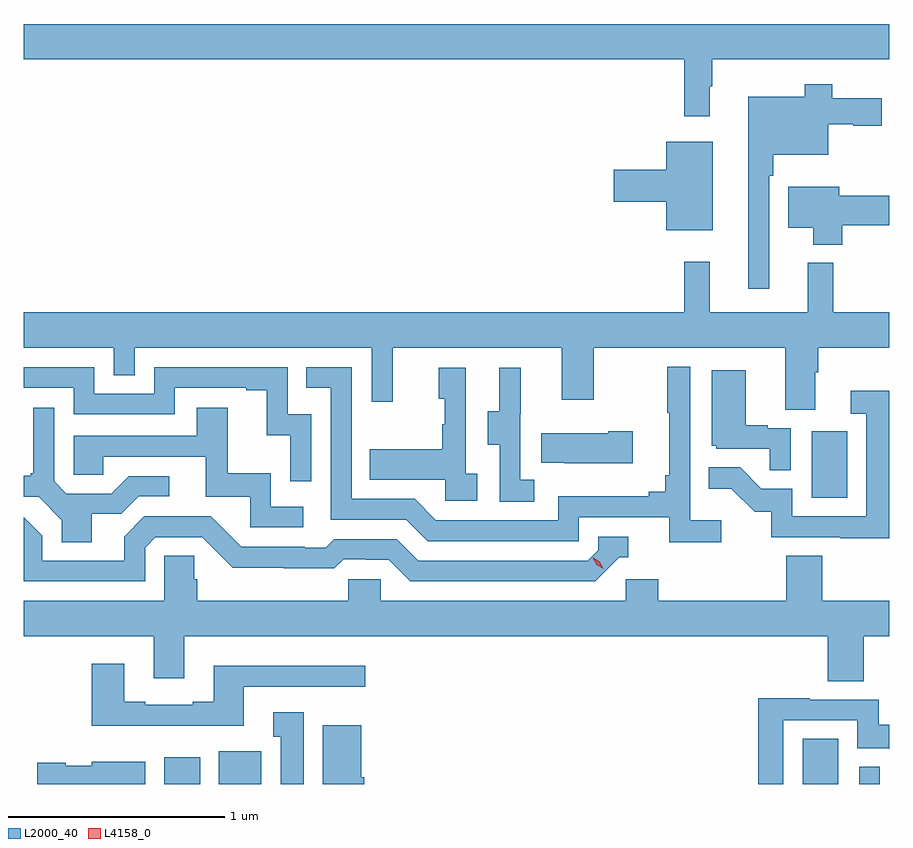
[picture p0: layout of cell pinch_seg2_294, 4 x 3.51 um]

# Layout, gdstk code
import gdstk
lib = gdstk.Library(unit=1e-6, precision=1e-09)
def R(c, l, rs):  # rectangles x0, y0, x1, y1
    for r in rs: c.add(gdstk.rectangle(r[:2], r[2:], *l))
def P(c, l, *ps):  # polygons
    for p in ps: c.add(gdstk.Polygon(p, *l))
L2000_40 = (2000, 40)
L4158_0 = (4158, 0)

pinch_seg2_294 = lib.new_cell('pinch_seg2_294')
R(pinch_seg2_294, L2000_40, [(898.301,644.289,898.468,644.413), (898.553,644.289,898.75,644.44), (901.25,644.289,901.414,644.497), (901.512,644.289,901.607,644.369), (901.292,645.612,901.456,645.919)])
P(pinch_seg2_294, L2000_40, [(900.82,647.513),(900.832,647.513),(900.832,647.636),(901.651,647.636),(901.651,647.8),(897.651,647.8),(897.651,647.636),(900.703,647.636),(900.703,647.373),(900.82,647.373)],
  [(901.095,647.099),(901.115,647.099),(901.115,647.195),(901.369,647.195),(901.369,647.336),(901.484,647.336),(901.484,647.329),(901.615,647.329),(901.615,647.458),(901.388,647.458),(901.388,647.521),(901.26,647.521),(901.26,647.464),(900.998,647.464),(900.998,646.578),(901.095,646.578)],
  [(900.835,647.257),(900.62,647.257),(900.62,647.126),(900.378,647.126),(900.378,646.979),(900.62,646.979),(900.62,646.847),(900.835,646.847)],
  [(901.433,646.87),(901.651,646.87),(901.651,647.007),(901.42,647.007),(901.42,647.047),(901.184,647.047),(901.184,646.859),(901.298,646.859),(901.298,646.781),(901.433,646.781)],
  [(901.309,646.192),(901.322,646.192),(901.322,646.304),(901.651,646.304),(901.651,646.468),(901.391,646.468),(901.391,646.696),(901.274,646.696),(901.274,646.468),(900.821,646.468),(900.821,646.702),(900.703,646.702),(900.703,646.468),(897.651,646.468),(897.651,646.304),(898.068,646.304),(898.068,646.177),(898.164,646.177),(898.164,646.304),(899.259,646.304),(899.259,646.056),(899.357,646.056),(899.357,646.304),(900.137,646.304),(900.137,646.065),(900.285,646.065),(900.285,646.304),(901.169,646.304),(901.169,646.018),(901.309,646.018)],
  [(900.874,645.508),(900.732,645.508),(900.732,646.216),(900.624,646.216),(900.624,646.003),(900.635,646.003),(900.635,645.715),(900.616,645.715),(900.616,645.638),(900.539,645.638),(900.539,645.619),(900.12,645.619),(900.12,645.507),(899.556,645.507),(899.457,645.606),(899.166,645.606),(899.166,646.215),(898.957,646.215),(898.957,646.119),(899.07,646.119),(899.07,645.51),(899.42,645.51),(899.519,645.411),(900.216,645.411),(900.216,645.522),(900.635,645.522),(900.635,645.406),(900.874,645.406)],
  [(898.98,645.996),(898.872,645.996),(898.872,646.215),(898.254,646.215),(898.254,646.092),(897.978,646.092),(897.978,646.215),(897.651,646.215),(897.651,646.119),(897.882,646.119),(897.882,645.996),(898.35,645.996),(898.35,646.119),(898.679,646.119),(898.679,646.107),(898.775,646.107),(898.775,645.899),(898.884,645.899),(898.884,645.687),(898.98,645.687)],
  [(900.01,645.695),(899.946,645.695),(899.946,645.999),(899.948,645.999),(899.948,646.213),(899.849,646.213),(899.849,646.011),(899.795,646.011),(899.795,645.856),(899.85,645.856),(899.85,645.592),(900.01,645.592)],
  [(899.746,645.722),(899.694,645.722),(899.694,646.213),(899.57,646.213),(899.57,646.068),(899.596,646.068),(899.596,645.95),(899.586,645.95),(899.586,645.835),(899.251,645.835),(899.251,645.695),(899.598,645.695),(899.598,645.597),(899.746,645.597)],
  [(901.194,645.933),(901.088,645.933),(901.088,645.946),(900.988,645.946),(900.988,646.201),(900.83,646.201),(900.83,645.852),(900.852,645.852),(900.852,645.837),(901.099,645.837),(901.099,645.739),(901.194,645.739)],
  [(901.651,646.105),(901.473,646.105),(901.473,645.999),(901.545,645.999),(901.545,645.525),(901.203,645.525),(901.203,645.654),(901.059,645.654),(900.961,645.752),(900.817,645.752),(900.817,645.653),(900.921,645.653),(901.028,645.546),(901.105,645.546),(901.105,645.429),(901.423,645.429),(901.423,645.424),(901.651,645.424)],
  [(898.942,645.57),(898.794,645.57),(898.794,645.724),(898.595,645.724),(898.595,646.027),(898.451,646.027),(898.451,645.897),(897.882,645.897),(897.882,645.717),(898.019,645.717),(898.019,645.801),(898.493,645.801),(898.493,645.615),(898.698,645.615),(898.698,645.474),(898.942,645.474)],
  [(897.967,645.538),(898.102,645.538),(898.182,645.618),(898.324,645.618),(898.324,645.711),(898.136,645.711),(898.055,645.63),(897.849,645.63),(897.792,645.687),(897.792,646.027),(897.695,646.027),(897.695,645.724),(897.684,645.724),(897.684,645.712),(897.651,645.712),(897.651,645.615),(897.72,645.615),(897.827,645.508),(897.827,645.406),(897.967,645.406)],
  [(900.466,645.918),(900.353,645.918),(900.353,645.91),(900.043,645.91),(900.043,645.773),(900.151,645.773),(900.151,645.77),(900.466,645.77)],
  [(898.212,645.381),(898.26,645.429),(898.476,645.429),(898.618,645.287),(898.854,645.287),(898.854,645.285),(899.087,645.285),(899.129,645.327),(899.232,645.327),(899.232,645.324),(899.339,645.324),(899.438,645.225),(900.291,645.225),(900.402,645.336),(900.445,645.336),(900.445,645.432),(900.306,645.432),(900.306,645.369),(900.258,645.321),(899.475,645.321),(899.376,645.42),(899.087,645.42),(899.048,645.381),(898.949,645.381),(898.949,645.384),(898.656,645.384),(898.515,645.525),(898.209,645.525),(898.115,645.431),(898.115,645.321),(897.738,645.321),(897.738,645.435),(897.651,645.522),(897.651,645.225),(898.212,645.225)],
  [(901.532,644.972),(901.651,644.972),(901.651,645.136),(901.34,645.136),(901.34,645.344),(901.175,645.344),(901.175,645.136),(900.584,645.136),(900.584,645.234),(900.432,645.234),(900.432,645.136),(899.301,645.136),(899.301,645.234),(899.151,645.234),(899.151,645.136),(898.454,645.136),(898.454,645.234),(898.439,645.234),(898.439,645.344),(898.302,645.344),(898.302,645.136),(897.651,645.136),(897.651,644.972),(898.253,644.972),(898.253,644.778),(898.393,644.778),(898.393,644.972),(901.367,644.972),(901.367,644.764),(901.532,644.764)],
  [(898.669,644.739),(899.23,644.739),(899.23,644.836),(898.529,644.836),(898.529,644.668),(898.433,644.668),(898.433,644.655),(898.213,644.655),(898.213,644.668),(898.117,644.668),(898.117,644.845),(897.965,644.845),(897.965,644.558),(898.669,644.558)],
  [(901.161,644.583),(901.503,644.583),(901.503,644.454),(901.647,644.454),(901.651,644.45),(901.651,644.562),(901.602,644.562),(901.602,644.679),(901.283,644.679),(901.283,644.684),(901.045,644.684),(901.045,644.289),(901.161,644.289)],
  [(898.945,644.62),(898.805,644.62),(898.805,644.507),(898.838,644.507),(898.838,644.289),(898.945,644.289)],
  [(899.225,644.32),(899.212,644.32),(899.212,644.56),(899.033,644.56),(899.033,644.289),(899.225,644.289)],
  [(898.213,644.392),(897.966,644.392),(897.966,644.374),(897.846,644.374),(897.846,644.387),(897.714,644.387),(897.714,644.289),(898.213,644.289)])
P(pinch_seg2_294, L4158_0, [(900.329,645.283),(900.298,645.302),(900.281,645.334),(900.281,645.335),(900.282,645.335),(900.313,645.316),(900.33,645.283),(900.33,645.283)])

lib.write_gds('pinch_seg2_294.gds')
